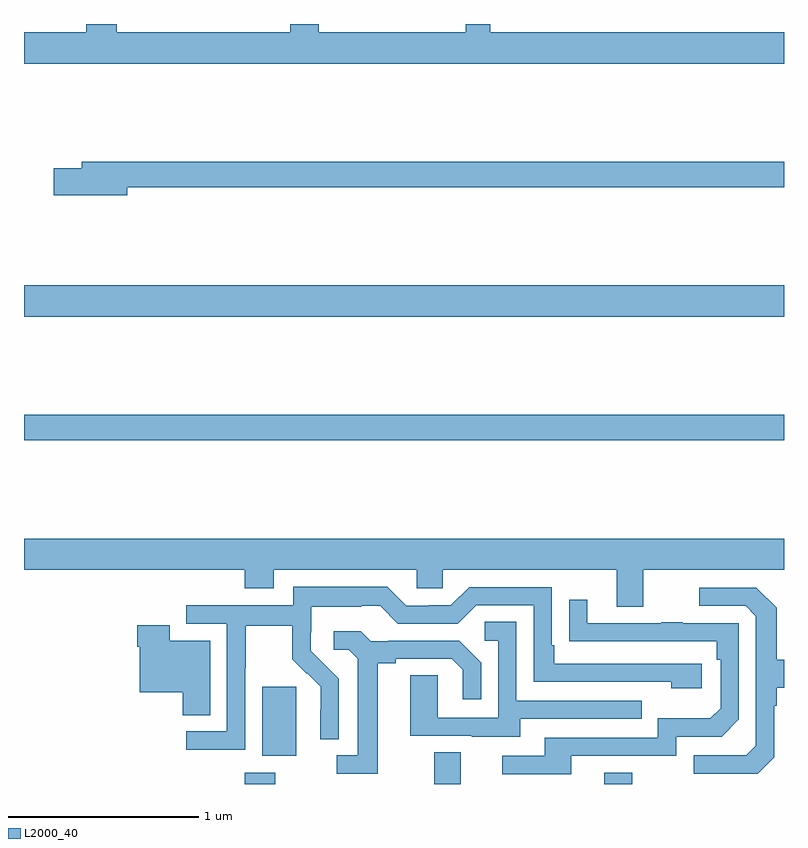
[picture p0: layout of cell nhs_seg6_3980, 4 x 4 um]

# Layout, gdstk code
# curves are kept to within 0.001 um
import gdstk
lib = gdstk.Library(unit=1e-6, precision=1e-09)
def R(c, l, rs):  # rectangles x0, y0, x1, y1
    for r in rs: c.add(gdstk.rectangle(r[:2], r[2:], *l))
def P(c, l, *ps):  # polygons
    for p in ps: c.add(gdstk.Polygon(p, *l))
L2000_40 = (2000, 40)

nhs_seg6_3980 = lib.new_cell('nhs_seg6_3980')
R(nhs_seg6_3980, L2000_40, [(346.163,987.5,346.323,987.559), (347.159,987.5,347.299,987.668), (348.053,987.5,348.201,987.559), (346.253,987.65,346.432,988.011), (345,989.308,349,989.444), (345,989.96,349,990.124)])
P(nhs_seg6_3980, L2000_40, [(349,991.456),(347.453,991.456),(347.453,991.5),(347.324,991.5),(347.324,991.456),(346.552,991.456),(346.552,991.5),(346.4,991.5),(346.4,991.456),(345.488,991.456),(345.488,991.5),(345.328,991.5),(345.328,991.456),(345,991.456),(345,991.292),(349,991.292)],
  [(345.544,990.64),(349,990.64),(349,990.776),(345.305,990.776),(345.305,990.74),(345.156,990.74),(345.156,990.598),(345.544,990.598)],
  [(348.259,988.628),(349,988.628),(349,988.792),(345,988.792),(345,988.628),(346.163,988.628),(346.163,988.529),(346.315,988.529),(346.315,988.628),(347.067,988.628),(347.067,988.53),(347.205,988.53),(347.205,988.628),(348.119,988.628),(348.119,988.434),(348.259,988.434)],
  [(346.164,988.108),(346.167,988.108),(346.167,988.332),(346.411,988.332),(346.411,988.157),(346.488,988.08),(346.491,988.083),(346.562,988.013),(346.562,987.89),(346.56,987.89),(346.56,987.736),(346.656,987.736),(346.656,988.054),(346.51,988.202),(346.51,988.299),(346.512,988.299),(346.512,988.433),(346.775,988.433),(346.775,988.437),(346.875,988.437),(346.968,988.344),(347.283,988.344),(347.379,988.44),(347.682,988.44),(347.682,988.038),(348.407,988.038),(348.407,988.004),(348.568,988.004),(348.568,988.134),(347.791,988.134),(347.791,988.231),(347.778,988.231),(347.778,988.536),(347.343,988.536),(347.247,988.44),(347.129,988.44),(347.129,988.437),(347.013,988.437),(346.913,988.537),(346.416,988.537),(346.416,988.44),(345.855,988.44),(345.855,988.344),(346.068,988.344),(346.068,987.777),(345.855,987.777),(345.855,987.679),(346.164,987.679)],
  [(348.948,987.642),(348.948,987.911),(348.961,987.911),(348.961,988.007),(349,988.007),(349,988.155),(348.961,988.155),(348.961,988.427),(348.855,988.533),(348.555,988.533),(348.555,988.437),(348.798,988.437),(348.852,988.383),(348.852,987.702),(348.801,987.651),(348.525,987.651),(348.525,987.555),(348.861,987.555)],
  [(347.881,987.648),(348.432,987.648),(348.432,987.75),(348.672,987.75),(348.762,987.84),(348.762,988.347),(348.467,988.347),(348.467,988.352),(348.355,988.352),(348.355,988.347),(347.965,988.347),(347.965,988.471),(347.869,988.471),(347.869,988.252),(348.646,988.251),(348.646,988.154),(348.666,988.154),(348.666,987.9),(348.613,987.847),(348.336,987.847),(348.336,987.744),(347.741,987.744),(347.741,987.648),(347.517,987.648),(347.517,987.552),(347.881,987.552)],
  [(347.611,987.843),(348.251,987.843),(348.251,987.939),(347.592,987.939),(347.592,988.355),(347.424,988.355),(347.424,988.254),(347.496,988.254),(347.496,987.849),(347.178,987.849),(347.178,988.073),(347.033,988.073),(347.033,987.753),(347.357,987.753),(347.357,987.749),(347.611,987.749)],
  [(345.979,988.255),(345.766,988.255),(345.766,988.336),(345.596,988.336),(345.596,988.223),(345.608,988.223),(345.608,987.983),(345.836,987.983),(345.836,987.862),(345.979,987.862)],
  [(346.861,988.136),(346.957,988.136),(346.957,988.158),(347.252,988.158),(347.309,988.101),(347.309,987.945),(347.406,987.945),(347.406,988.138),(347.29,988.254),(346.918,988.254),(346.918,988.251),(346.824,988.251),(346.772,988.303),(346.629,988.303),(346.629,988.206),(346.71,988.206),(346.757,988.159),(346.757,987.651),(346.647,987.651),(346.647,987.555),(346.861,987.555)])

lib.write_gds('nhs_seg6_3980.gds')
